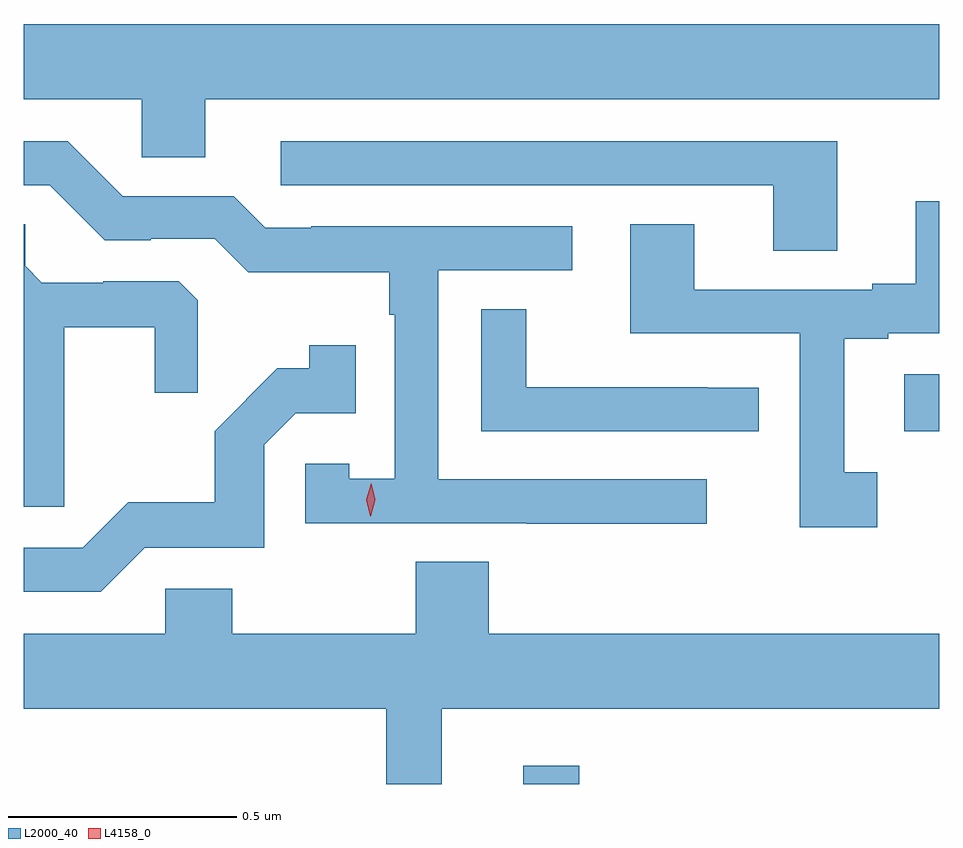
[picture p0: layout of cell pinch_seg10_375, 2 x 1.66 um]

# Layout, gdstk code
import gdstk
lib = gdstk.Library(unit=1e-6, precision=1e-09)
def R(c, l, rs):  # rectangles x0, y0, x1, y1
    for r in rs: c.add(gdstk.rectangle(r[:2], r[2:], *l))
def P(c, l, *ps):  # polygons
    for p in ps: c.add(gdstk.Polygon(p, *l))
L2000_40 = (2000, 40)
L4158_0 = (4158, 0)

pinch_seg10_375 = lib.new_cell('pinch_seg10_375')
R(pinch_seg10_375, L2000_40, [(400.553,1250.868,400.675,1250.908), (401.385,1251.639,401.462,1251.763)])
P(pinch_seg10_375, L2000_40, [(399.859,1252.364),(401.462,1252.364),(401.462,1252.528),(399.462,1252.528),(399.462,1252.364),(399.72,1252.364),(399.72,1252.237),(399.859,1252.237)],
  [(401.239,1252.272),(400.023,1252.272),(400.023,1252.176),(401.099,1252.176),(401.099,1252.033),(401.239,1252.033)],
  [(400.954,1251.534),(400.368,1251.534),(400.368,1251.99),(400.66,1251.99),(400.66,1252.086),(400.09,1252.086),(400.09,1252.083),(399.99,1252.083),(399.921,1252.152),(399.678,1252.152),(399.558,1252.272),(399.462,1252.272),(399.462,1252.176),(399.519,1252.176),(399.639,1252.056),(399.74,1252.056),(399.74,1252.059),(399.879,1252.059),(399.952,1251.986),(400.26,1251.986),(400.26,1251.893),(400.272,1251.893),(400.272,1251.535),(400.173,1251.535),(400.173,1251.567),(400.077,1251.567),(400.077,1251.438),(400.561,1251.438),(400.561,1251.436),(400.954,1251.436)],
  [(401.326,1251.549),(401.254,1251.549),(401.254,1251.84),(401.35,1251.84),(401.35,1251.852),(401.462,1251.852),(401.462,1252.141),(401.411,1252.141),(401.411,1251.961),(401.315,1251.961),(401.315,1251.948),(400.927,1251.948),(400.927,1252.091),(400.787,1252.091),(400.787,1251.852),(401.157,1251.852),(401.157,1251.429),(401.326,1251.429)],
  [(399.551,1251.866),(399.748,1251.866),(399.748,1251.723),(399.842,1251.723),(399.842,1251.925),(399.801,1251.966),(399.636,1251.966),(399.636,1251.963),(399.502,1251.963),(399.465,1252),(399.465,1252.091),(399.462,1252.091),(399.462,1251.474),(399.551,1251.474)],
  [(401.068,1251.734),(400.955,1251.734),(400.955,1251.735),(400.56,1251.735),(400.56,1251.905),(400.461,1251.905),(400.461,1251.639),(401.068,1251.639)],
  [(399.726,1251.384),(399.987,1251.384),(399.987,1251.609),(400.056,1251.678),(400.187,1251.678),(400.187,1251.826),(400.086,1251.826),(400.086,1251.776),(400.016,1251.776),(399.879,1251.638),(399.879,1251.483),(399.69,1251.483),(399.591,1251.384),(399.462,1251.384),(399.462,1251.288),(399.63,1251.288)],
  [(400.375,1251.032),(401.462,1251.032),(401.462,1251.196),(400.478,1251.196),(400.478,1251.353),(400.318,1251.353),(400.318,1251.196),(399.918,1251.196),(399.918,1251.294),(399.771,1251.294),(399.771,1251.196),(399.462,1251.196),(399.462,1251.032),(400.254,1251.032),(400.254,1250.868),(400.375,1250.868)])
P(pinch_seg10_375, L4158_0, [(400.219,1251.453),(400.21,1251.489),(400.221,1251.525),(400.221,1251.525),(400.221,1251.525),(400.23,1251.489),(400.22,1251.453),(400.22,1251.453)])

lib.write_gds('pinch_seg10_375.gds')
